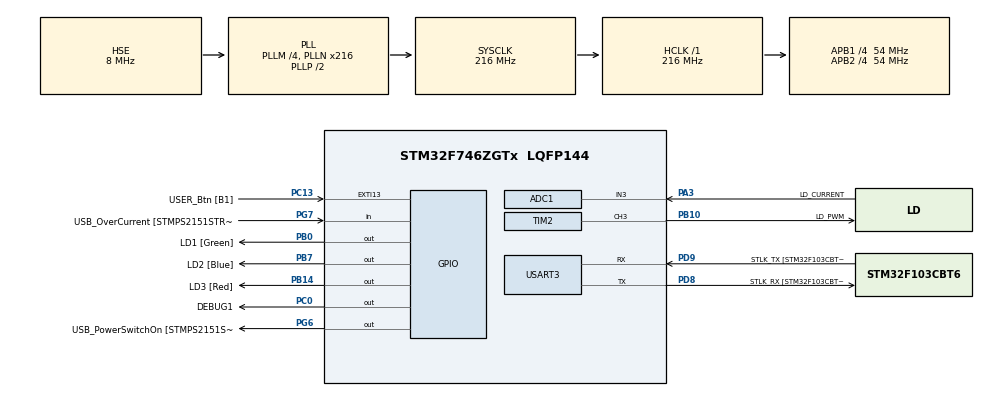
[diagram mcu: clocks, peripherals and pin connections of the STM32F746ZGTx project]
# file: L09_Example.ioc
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ADC1.Channel-0\#ChannelRegularConversion=ADC_CHANNEL_3
ADC1.NbrOfConversionFlag=1
ADC1.Rank-0\#ChannelRegularConversion=1
ADC1.SamplingTime-0\#ChannelRegularConversion=ADC_SAMPLETIME_480CYCLES
ADC1.master=1
Dma.Request0=USART3_TX
Dma.USART3_TX.0.Direction=DMA_MEMORY_TO_PERIPH
Dma.USART3_TX.0.FIFOMode=DMA_FIFOMODE_DISABLE
Dma.USART3_TX.0.Instance=DMA1_Stream3
Dma.USART3_TX.0.MemDataAlignment=DMA_MDATAALIGN_BYTE
Dma.USART3_TX.0.MemInc=DMA_MINC_ENABLE
Dma.USART3_TX.0.Mode=DMA_NORMAL
Dma.USART3_TX.0.PeriphDataAlignment=DMA_PDATAALIGN_BYTE
Dma.USART3_TX.0.PeriphInc=DMA_PINC_DISABLE
Dma.USART3_TX.0.Priority=DMA_PRIORITY_LOW
Mcu.Family=STM32F7
Mcu.Name=STM32F746ZGTx
Mcu.Package=LQFP144
NVIC.ADC_IRQn=true\:0\:0\:false\:false\:true\:true\:true\:true
NVIC.DMA1_Stream3_IRQn=true\:0\:0\:false\:false\:true\:false\:true\:true
NVIC.PriorityGroup=NVIC_PRIORITYGROUP_4
NVIC.TIM2_IRQn=true\:0\:0\:false\:false\:true\:true\:true\:true
NVIC.USART3_IRQn=true\:0\:0\:false\:false\:true\:true\:true\:true
PA1.GPIO_Label=RMII_REF_CLK [LAN8742A-CZ-TR_REFCLK0]
PA1.Signal=ETH_REF_CLK
PA10.GPIO_Label=USB_ID
PA10.Signal=USB_OTG_FS_ID
PA11.GPIO_Label=USB_DM
PA11.Signal=USB_OTG_FS_DM
PA12.GPIO_Label=USB_DP
PA12.Signal=USB_OTG_FS_DP
PA13.GPIO_Label=TMS
PA13.Mode=Serial_Wire
PA13.Signal=SYS_JTMS-SWDIO
PA14.GPIO_Label=TCK
PA14.Mode=Serial_Wire
PA14.Signal=SYS_JTCK-SWCLK
PA2.GPIO_Label=RMII_MDIO [LAN8742A-CZ-TR_MDIO]
PA2.Signal=ETH_MDIO
PA3.GPIO_Label=LD_CURRENT
PA3.Signal=ADCx_IN3
PA7.GPIO_Label=RMII_CRS_DV [LAN8742A-CZ-TR_CRS_DV]
PA7.Signal=ETH_CRS_DV
PA8.GPIO_Label=USB_SOF [TP1]
PA8.Signal=USB_OTG_FS_SOF
PA9.GPIO_Label=USB_VBUS
PA9.Signal=USB_OTG_FS_VBUS
PB0.GPIO_Label=LD1 [Green]
PB0.Signal=GPIO_Output
PB10.GPIO_Label=LD_PWM
PB10.Signal=S_TIM2_CH3
PB13.GPIO_Label=RMII_TXD1 [LAN8742A-CZ-TR_TXD1]
PB13.Signal=ETH_TXD1
PB14.GPIO_Label=LD3 [Red]
PB14.Signal=GPIO_Output
PB3.GPIO_Label=SW0
PB3.Signal=SYS_JTDO-SWO
PB7.GPIO_Label=LD2 [Blue]
PB7.Signal=GPIO_Output
PC0.GPIO_Label=DEBUG1
PC0.GPIO_Speed=GPIO_SPEED_FREQ_VERY_HIGH
PC0.Signal=GPIO_Output
PC1.GPIO_Label=RMII_MDC [LAN8742A-CZ-TR_MDC]
PC1.Signal=ETH_MDC
PC13.GPIO_Label=USER_Btn [B1]
PC13.Signal=GPXTI13
PC14/OSC32_IN.Mode=LSE-External-Oscillator
PC14/OSC32_IN.Signal=RCC_OSC32_IN
PC15/OSC32_OUT.Mode=LSE-External-Oscillator
PC15/OSC32_OUT.Signal=RCC_OSC32_OUT
PC4.GPIO_Label=RMII_RXD0 [LAN8742A-CZ-TR_RXD0]
PC4.Signal=ETH_RXD0
PC5.GPIO_Label=RMII_RXD1 [LAN8742A-CZ-TR_RXD1]
PC5.Signal=ETH_RXD1
PD8.GPIO_Label=STLK_RX [STM32F103CBT6_PA3]
PD8.GPIO_PuPd=GPIO_PULLUP
PD8.Mode=Asynchronous
PD8.Signal=USART3_TX
PD9.GPIO_Label=STLK_TX [STM32F103CBT6_PA2]
PD9.GPIO_PuPd=GPIO_PULLUP
PD9.Mode=Asynchronous
PD9.Signal=USART3_RX
PG11.GPIO_Label=RMII_TX_EN [LAN8742A-CZ-TR_TXEN]
PG11.Signal=ETH_TX_EN
PG13.GPIO_Label=RMII_TXD0 [LAN8742A-CZ-TR_TXD0]
PG13.Signal=ETH_TXD0
PG6.GPIO_Label=USB_PowerSwitchOn [STMPS2151STR_EN]
PG6.Signal=GPIO_Output
PG7.GPIO_Label=USB_OverCurrent [STMPS2151STR_FAULT]
PG7.Signal=GPIO_Input
PH0/OSC_IN.GPIO_Label=MCO [STM32F103CBT6_PA8]
PH0/OSC_IN.Mode=HSE-External-Clock-Source
PH0/OSC_IN.Signal=RCC_OSC_IN
PH1/OSC_OUT.Mode=HSE-External-Clock-Source
PH1/OSC_OUT.Signal=RCC_OSC_OUT
ProjectManager.HeapSize=0x200
ProjectManager.StackSize=0x400
ProjectManager.TargetToolchain=STM32CubeIDE
RCC.48MHZClocksFreq_Value=24000000
RCC.AHBFreq_Value=216000000
RCC.APB1CLKDivider=RCC_HCLK_DIV4
RCC.APB1Freq_Value=54000000
RCC.APB1TimFreq_Value=108000000
RCC.APB2CLKDivider=RCC_HCLK_DIV4
RCC.APB2Freq_Value=54000000
RCC.APB2TimFreq_Value=108000000
RCC.CortexFreq_Value=216000000
RCC.HCLKFreq_Value=216000000
RCC.HSE_VALUE=8000000
RCC.HSI_VALUE=16000000
RCC.PLLM=4
RCC.PLLMUL=RCC_PLL_MUL9
RCC.PLLN=216
RCC.PLLQ=3
RCC.PLLSourceVirtual=RCC_PLLSOURCE_HSE
RCC.PRESCALERUSB=RCC_USBCLKSOURCE_PLL_DIV1_5
RCC.SYSCLKFreq_VALUE=216000000
RCC.SYSCLKSource=RCC_SYSCLKSOURCE_PLLCLK
RCC.SYSCLKSourceVirtual=RCC_SYSCLKSOURCE_PLLCLK
RCC.USBFreq_Value=144000000
RCC.VCOOutputFreq_Value=432000000
SH.ADCx_IN3.0=ADC1_IN3,IN3
SH.S_TIM2_CH3.0=TIM2_CH3,PWM Generation3 CH3
TIM2.Channel-PWM\ Generation3\ CH3=TIM_CHANNEL_3
TIM2.OCPolarity_3=TIM_OCPOLARITY_LOW
TIM2.Period=1000-1
TIM2.Prescaler=(108/9)-1
TIM2.Pulse-PWM\ Generation3\ CH3=0
USART3.VirtualMode-Asynchronous=VM_ASYNC
board=NUCLEO-F746ZG

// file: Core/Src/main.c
/* USER CODE BEGIN Header */
/**
  ******************************************************************************
  * @file           : main.c
  * @brief          : Main program body
  ******************************************************************************
  * @attention
  *
  * <h2><center>&copy; Copyright (c) 2021 STMicroelectronics.
  * All rights reserved.</center></h2>
  *
  * This software component is licensed by ST under BSD 3-Clause license,
  * the "License"; You may not use this file except in compliance with the
  * License. You may obtain a copy of the License at:
  *                        opensource.org/licenses/BSD-3-Clause
  *
  ******************************************************************************
  */
/* USER CODE END Header */
#include "main.h"
#include "adc.h"
#include "dma.h"
#include "tim.h"
#include "usart.h"
#include "gpio.h"

/* USER CODE BEGIN Includes */
#include <stdio.h>
#include <string.h>
#include "pid_controller_config.h"
#include "led_config.h"
#include "aio.h"
/* USER CODE END Includes */

/* USER CODE BEGIN PTD */
typedef struct {
  float measurement;
  float reference;
  float control;
} SWV_TypeDef;
/* USER CODE END PTD */

/* USER CODE BEGIN PD */
#define LOG_NBR_OF_VAR 3
#define LOG_ARRAY_SIZE (1000 * LOG_NBR_OF_VAR)
/* USER CODE END PD */

/* USER CODE BEGIN PV */
uint8_t UART_Cmd[] = "X000.000";
uint16_t UART_CmdLen;

float duty = 0.0f;               // [%]
float current = 0.0f;            // [mA]
float current_ref = 0.0f;        // [mA]
const float resistance = 100.0f; // [Ohm]

unsigned int CLOSED_LOOP = 0;
unsigned int LOG_ENABLE = 0;
unsigned int LOG_Counter = 0;

SWV_TypeDef swv_log;
float LOG_ARRAY[LOG_ARRAY_SIZE];
/* USER CODE END PV */

void SystemClock_Config(void);

/* USER CODE BEGIN 0 */
/**
  * @brief  Rx Transfer completed callback.
  * @param  huart UART handle.
  * @retval None
  */
void HAL_UART_RxCpltCallback(UART_HandleTypeDef *huart)
{
  if(huart == &huart3)
  {
    // Reference current: R000.000 in mA
    if(UART_Cmd[0] == 'R' || UART_Cmd[0] == 'r')
    {
      sscanf((char*)&UART_Cmd[1], "%f", &current_ref);
    }
    // Duty cycle: D000.000 in %
    else if(UART_Cmd[0] == 'D' || UART_Cmd[0] == 'd')
    {
      sscanf((char*)&UART_Cmd[1], "%f", &duty);
      LED_PWM_WriteDuty(&hld1, duty);
    }
    // Control system mode: M0000000
    // where  0 -> Open loop
    //       ~0 -> Closed loop
    else if(UART_Cmd[0] == 'M' || UART_Cmd[0] == 'm')
    {
      sscanf((char*)&UART_Cmd[1], "%u", &CLOSED_LOOP);
    }
    // Logging system mode: L0000000
    // where  0 -> Logging disabled
    //       ~0 -> Logging enabled
    else if(UART_Cmd[0] == 'L' || UART_Cmd[0] == 'l')
    {
      sscanf((char*)&UART_Cmd[1], "%u", &LOG_ENABLE);
    }
    // JSON Readout
    else if(strncmp((char*)UART_Cmd, "JSON", 4) == 0)
    {
      uint8_t UART_Readout[256];
      int UART_ReadoutLen = sprintf((char*)UART_Readout,
          "{ \"I1\":{\"value\":%f,\"unit\":\"mA\"}, "
          "\"I1REF\":{\"value\":%f,\"unit\":\"mA\"}, "
          "\"D1\":{\"value\":%f,\"unit\":\"%%\"} }\r",
          current, current_ref, duty);

      HAL_UART_Transmit_DMA(&huart3, UART_Readout, UART_ReadoutLen);
    }
    // Raw float Readout
    else if(strncmp((char*)UART_Cmd, "FLOAT", 5) == 0)
    {
      HAL_UART_Transmit_DMA(&huart3, (uint8_t*)LOG_ARRAY, sizeof(LOG_ARRAY));
    }

    HAL_UART_Receive_IT(&huart3, UART_Cmd, UART_CmdLen);
  }
}

/**
  * @brief  Period elapsed callback in non-blocking mode
  * @param  htim TIM handle
  * @retval None
  */
void HAL_TIM_PeriodElapsedCallback(TIM_HandleTypeDef *htim)
{
  if(htim == hld1.Output.Timer)
  {
    HAL_GPIO_WritePin(DEBUG1_GPIO_Port, DEBUG1_Pin, GPIO_PIN_SET);
    HAL_ADC_Start_IT(&hadc1);
  }
}

/**
  * @brief  Regular conversion complete callback in non blocking mode
  * @param  hadc pointer to a ADC_HandleTypeDef structure that contains
  *         the configuration information for the specified ADC.
  * @retval None
  */
void HAL_ADC_ConvCpltCallback(ADC_HandleTypeDef* hadc)
{
  if(hadc == &hadc1)
  {
    float voltage = ADC_REG2VOLTAGE(HAL_ADC_GetValue(hadc)); // [mV]
    // Ohm's law
    current = voltage / resistance;                          // [mA]

    if(CLOSED_LOOP)
    {
      duty = PID_GetOutput(&hpid1, current_ref, current);    // [%]
      LED_PWM_WriteDuty(&hld1, duty);
    }

    HAL_GPIO_WritePin(DEBUG1_GPIO_Port, DEBUG1_Pin, GPIO_PIN_RESET);
  }
}

/* USER CODE END 0 */

int main(void)
{

  /* MCU Configuration--------------------------------------------------------*/

  /* Reset of all peripherals, Initializes the Flash interface and the Systick. */
  HAL_Init();

  /* Configure the system clock */
  SystemClock_Config();

  /* Initialize all configured peripherals */
  MX_GPIO_Init();
  MX_DMA_Init();
  MX_USART3_UART_Init();
  MX_TIM2_Init();
  MX_ADC1_Init();
  /* USER CODE BEGIN 2 */
  PID_Init(&hpid1);

  LED_PWM_Init(&hld1);

  UART_CmdLen = strlen((char*)UART_Cmd);
  HAL_UART_Receive_IT(&huart3, UART_Cmd, UART_CmdLen);

  HAL_TIM_Base_Start_IT(hld1.Output.Timer);
  /* USER CODE END 2 */

  /* Infinite loop */
  /* USER CODE BEGIN WHILE */
  while (1)
  {
    swv_log.control = duty;
    swv_log.measurement = current;
    swv_log.reference = current_ref;

    if(LOG_ENABLE)
    {
      LOG_ARRAY[0 + LOG_NBR_OF_VAR*LOG_Counter] = duty;
      LOG_ARRAY[1 + LOG_NBR_OF_VAR*LOG_Counter] = current;
      LOG_ARRAY[2 + LOG_NBR_OF_VAR*LOG_Counter] = current_ref;
      LOG_Counter++;

      if(LOG_Counter >= (LOG_ARRAY_SIZE / LOG_NBR_OF_VAR))
      {
        LOG_ENABLE = 0;
        LOG_Counter = 0;
      }
    }

    HAL_Delay(0);
    /* USER CODE END WHILE */

  }
}

void SystemClock_Config(void)
{
  RCC_OscInitTypeDef RCC_OscInitStruct = {0};
  RCC_ClkInitTypeDef RCC_ClkInitStruct = {0};

  /** Configure LSE Drive Capability
  */
  HAL_PWR_EnableBkUpAccess();

  /** Configure the main internal regulator output voltage
  */
  __HAL_RCC_PWR_CLK_ENABLE();
  __HAL_PWR_VOLTAGESCALING_CONFIG(PWR_REGULATOR_VOLTAGE_SCALE1);

  /** Initializes the RCC Oscillators according to the specified parameters
  * in the RCC_OscInitTypeDef structure.
  */
  RCC_OscInitStruct.OscillatorType = RCC_OSCILLATORTYPE_HSE;
  RCC_OscInitStruct.HSEState = RCC_HSE_BYPASS;
  RCC_OscInitStruct.PLL.PLLState = RCC_PLL_ON;
  RCC_OscInitStruct.PLL.PLLSource = RCC_PLLSOURCE_HSE;
  RCC_OscInitStruct.PLL.PLLM = 4;
  RCC_OscInitStruct.PLL.PLLN = 216;
  RCC_OscInitStruct.PLL.PLLP = RCC_PLLP_DIV2;
  RCC_OscInitStruct.PLL.PLLQ = 3;
  if (HAL_RCC_OscConfig(&RCC_OscInitStruct) != HAL_OK)
  {
    Error_Handler();
  }

  /** Activate the Over-Drive mode
  */
  if (HAL_PWREx_EnableOverDrive() != HAL_OK)
  {
    Error_Handler();
  }

  /** Initializes the CPU, AHB and APB buses clocks
  */
  RCC_ClkInitStruct.ClockType = RCC_CLOCKTYPE_HCLK|RCC_CLOCKTYPE_SYSCLK
                              |RCC_CLOCKTYPE_PCLK1|RCC_CLOCKTYPE_PCLK2;
  RCC_ClkInitStruct.SYSCLKSource = RCC_SYSCLKSOURCE_PLLCLK;
  RCC_ClkInitStruct.AHBCLKDivider = RCC_SYSCLK_DIV1;
  RCC_ClkInitStruct.APB1CLKDivider = RCC_HCLK_DIV4;
  RCC_ClkInitStruct.APB2CLKDivider = RCC_HCLK_DIV4;

  if (HAL_RCC_ClockConfig(&RCC_ClkInitStruct, FLASH_LATENCY_7) != HAL_OK)
  {
    Error_Handler();
  }
}

void Error_Handler(void)
{
  __disable_irq();
  while (1)
  {
  }
}
